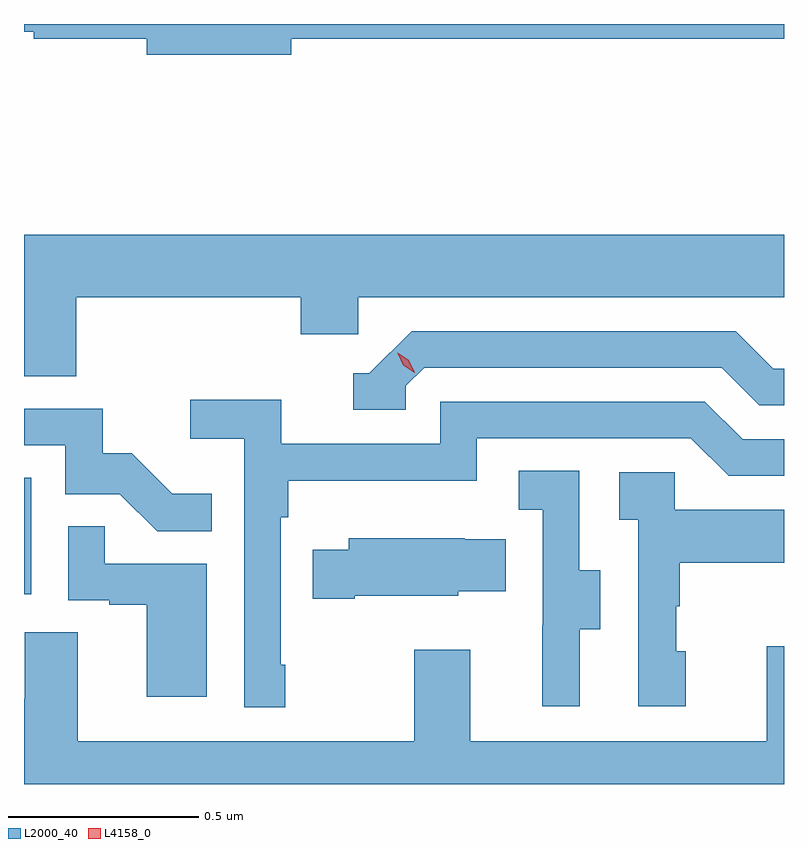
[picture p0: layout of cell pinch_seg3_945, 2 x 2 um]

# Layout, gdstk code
import gdstk
lib = gdstk.Library(unit=1e-6, precision=1e-09)
def R(c, l, rs):  # rectangles x0, y0, x1, y1
    for r in rs: c.add(gdstk.rectangle(r[:2], r[2:], *l))
def P(c, l, *ps):  # polygons
    for p in ps: c.add(gdstk.Polygon(p, *l))
L2000_40 = (2000, 40)
L4158_0 = (4158, 0)

pinch_seg3_945 = lib.new_cell('pinch_seg3_945')
R(pinch_seg3_945, L2000_40, [(884.523,678.822,884.542,679.129)])
P(pinch_seg3_945, L2000_40, [(885.226,680.284),(886.523,680.284),(886.523,680.323),(884.523,680.323),(884.523,680.303),(884.548,680.303),(884.548,680.284),(884.846,680.284),(884.846,680.242),(885.226,680.242)],
  [(884.66,679.604),(885.251,679.604),(885.251,679.506),(885.402,679.506),(885.402,679.604),(886.523,679.604),(886.523,679.768),(884.523,679.768),(884.523,679.396),(884.66,679.396)],
  [(885.528,679.371),(885.576,679.419),(886.359,679.419),(886.458,679.32),(886.523,679.32),(886.523,679.416),(886.495,679.416),(886.396,679.515),(885.543,679.515),(885.432,679.404),(885.389,679.404),(885.389,679.308),(885.528,679.308)],
  [(885.211,678.637),(885.198,678.637),(885.198,679.025),(885.218,679.025),(885.218,679.121),(885.714,679.121),(885.714,679.233),(886.278,679.233),(886.377,679.134),(886.523,679.134),(886.523,679.23),(886.414,679.23),(886.315,679.329),(885.618,679.329),(885.618,679.218),(885.2,679.218),(885.2,679.334),(884.961,679.334),(884.961,679.232),(885.102,679.232),(885.102,678.525),(885.211,678.525)],
  [(885.017,679.087),(884.913,679.087),(884.806,679.194),(884.73,679.194),(884.73,679.311),(884.523,679.311),(884.523,679.215),(884.631,679.215),(884.631,679.086),(884.775,679.086),(884.873,678.988),(885.017,678.988)],
  [(885.985,678.73),(886.039,678.73),(886.039,678.885),(885.984,678.885),(885.984,679.148),(885.825,679.148),(885.825,679.045),(885.888,679.045),(885.888,678.741),(885.887,678.741),(885.887,678.528),(885.985,678.528)],
  [(886.264,678.672),(886.239,678.672),(886.239,678.791),(886.249,678.791),(886.249,678.905),(886.523,678.905),(886.523,679.045),(886.236,679.045),(886.236,679.143),(886.089,679.143),(886.089,679.019),(886.14,679.019),(886.14,678.528),(886.264,678.528)],
  [(885.004,678.903),(884.735,678.903),(884.735,679.001),(884.64,679.001),(884.64,678.807),(884.747,678.807),(884.747,678.795),(884.846,678.795),(884.846,678.552),(885.004,678.552)],
  [(885.394,678.818),(885.666,678.818),(885.666,678.83),(885.791,678.83),(885.791,678.967),(885.683,678.967),(885.683,678.97),(885.377,678.97),(885.377,678.94),(885.283,678.94),(885.283,678.811),(885.394,678.811)],
  [(886.523,678.685),(886.478,678.685),(886.478,678.436),(885.697,678.436),(885.697,678.676),(885.55,678.676),(885.55,678.436),(884.665,678.436),(884.665,678.722),(884.525,678.722),(884.525,678.548),(884.523,678.548),(884.523,678.323),(886.523,678.323)])
P(pinch_seg3_945, L4158_0, [(885.551,679.405),(885.521,679.425),(885.506,679.457),(885.506,679.458),(885.506,679.458),(885.536,679.438),(885.551,679.405),(885.551,679.405)])

lib.write_gds('pinch_seg3_945.gds')
